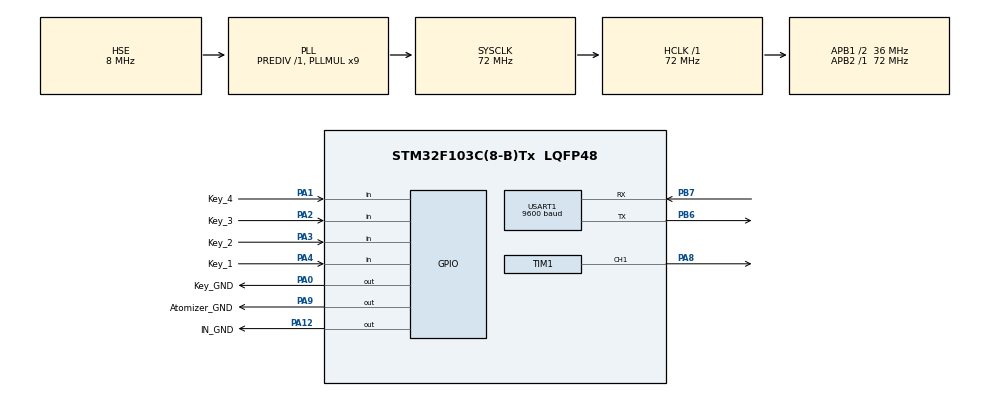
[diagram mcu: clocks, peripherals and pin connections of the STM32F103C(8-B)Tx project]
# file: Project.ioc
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Mcu.Family=STM32F1
Mcu.Name=STM32F103C(8-B)Tx
Mcu.Package=LQFP48
NVIC.PriorityGroup=NVIC_PRIORITYGROUP_4
PA0-WKUP.GPIO_Label=Key_GND
PA0-WKUP.GPIO_PuPd=GPIO_PULLDOWN
PA0-WKUP.GPIO_Speed=GPIO_SPEED_FREQ_HIGH
PA0-WKUP.Signal=GPIO_Output
PA1.GPIO_Label=Key_4
PA1.GPIO_PuPd=GPIO_PULLUP
PA1.Signal=GPIO_Input
PA12.GPIO_Label=IN_GND
PA12.GPIO_PuPd=GPIO_PULLDOWN
PA12.GPIO_Speed=GPIO_SPEED_FREQ_HIGH
PA12.Signal=GPIO_Output
PA13.Mode=Serial_Wire
PA13.Signal=SYS_JTMS-SWDIO
PA14.Mode=Serial_Wire
PA14.Signal=SYS_JTCK-SWCLK
PA2.GPIO_Label=Key_3
PA2.GPIO_PuPd=GPIO_PULLUP
PA2.Signal=GPIO_Input
PA3.GPIO_Label=Key_2
PA3.GPIO_PuPd=GPIO_PULLUP
PA3.Signal=GPIO_Input
PA4.GPIO_Label=Key_1
PA4.GPIO_PuPd=GPIO_PULLUP
PA4.Signal=GPIO_Input
PA8.Signal=S_TIM1_CH1
PA9.GPIO_Label=Atomizer_GND
PA9.GPIO_PuPd=GPIO_PULLDOWN
PA9.GPIO_Speed=GPIO_SPEED_FREQ_HIGH
PA9.Signal=GPIO_Output
PB6.Mode=Asynchronous
PB6.Signal=USART1_TX
PB7.Mode=Asynchronous
PB7.Signal=USART1_RX
PC14-OSC32_IN.Mode=LSE-External-Oscillator
PC14-OSC32_IN.Signal=RCC_OSC32_IN
PC15-OSC32_OUT.Mode=LSE-External-Oscillator
PC15-OSC32_OUT.Signal=RCC_OSC32_OUT
PD0-OSC_IN.Mode=HSE-External-Oscillator
PD0-OSC_IN.Signal=RCC_OSC_IN
PD1-OSC_OUT.Mode=HSE-External-Oscillator
PD1-OSC_OUT.Signal=RCC_OSC_OUT
ProjectManager.HeapSize=0x200
ProjectManager.StackSize=0x400
ProjectManager.TargetToolchain=MDK-ARM V5.32
RCC.AHBFreq_Value=72000000
RCC.APB1CLKDivider=RCC_HCLK_DIV2
RCC.APB1Freq_Value=36000000
RCC.APB1TimFreq_Value=72000000
RCC.APB2Freq_Value=72000000
RCC.APB2TimFreq_Value=72000000
RCC.HCLKFreq_Value=72000000
RCC.PLLMUL=RCC_PLL_MUL9
RCC.PLLSourceVirtual=RCC_PLLSOURCE_HSE
RCC.SYSCLKFreq_VALUE=72000000
RCC.SYSCLKSource=RCC_SYSCLKSOURCE_PLLCLK
RCC.USBFreq_Value=72000000
SH.S_TIM1_CH1.0=TIM1_CH1,PWM Generation1 CH1
TIM1.Channel-PWM\ Generation1\ CH1=TIM_CHANNEL_1
TIM1.Period=9
TIM1.Prescaler=71
TIM1.Pulse-PWM\ Generation1\ CH1=3
USART1.BaudRate=9600
USART1.VirtualMode=VM_ASYNC
VP_TIM1_VS_ClockSourceINT.Mode=Internal
board=custom

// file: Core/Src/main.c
/* USER CODE BEGIN Header */
/**
 ******************************************************************************
 * @file           : main.c
 * @brief          : Main program body
 ******************************************************************************
 * @attention
 *
 * Copyright (c) 2023 STMicroelectronics.
 * All rights reserved.
 *
 * This software is licensed under terms that can be found in the LICENSE file
 * in the root directory of this software component.
 * If no LICENSE file comes with this software, it is provided AS-IS.
 *
 ******************************************************************************
 */
/* USER CODE END Header */
#include "main.h"
#include "tim.h"
#include "usart.h"
#include "gpio.h"

void SystemClock_Config(void);

int main(void)
{
  /* USER CODE BEGIN 1 */
  uint8_t i = 0;
  uint16_t j = 3;
  /* USER CODE END 1 */

  /* MCU Configuration--------------------------------------------------------*/

  /* Reset of all peripherals, Initializes the Flash interface and the Systick. */
  HAL_Init();

  /* Configure the system clock */
  SystemClock_Config();

  /* Initialize all configured peripherals */
  MX_GPIO_Init();
  MX_TIM1_Init();
  MX_USART1_UART_Init();
  /* USER CODE BEGIN 2 */
  HAL_TIM_PWM_Start(&htim1, TIM_CHANNEL_1);
  /* USER CODE END 2 */

  /* Infinite loop */
  /* USER CODE BEGIN WHILE */
  while (1)
  {
    if (HAL_GPIO_ReadPin(Key_1_GPIO_Port, Key_1_Pin) == GPIO_PIN_RESET)
    {
      HAL_Delay(50);
      i += 1;
    }
    else if (HAL_GPIO_ReadPin(Key_2_GPIO_Port, Key_2_Pin) == GPIO_PIN_RESET)
    {
      HAL_Delay(50);
      i += 1;
    }

    if (i % 2 == 1)
    {
      printf("Atomizer: ON\n");
      if (HAL_GPIO_ReadPin(Key_3_GPIO_Port, Key_3_Pin) == GPIO_PIN_RESET)
      {
        HAL_Delay(50);
        j += 3;
      }
      else if (HAL_GPIO_ReadPin(Key_4_GPIO_Port, Key_4_Pin) == GPIO_PIN_RESET)
      {
        HAL_Delay(50);
        j -= 3;
      }
    }
    else if (i % 2 == 0)
    {
      printf("Atomizer: OFF\n");
      __HAL_TIM_SET_COMPARE(&htim1, TIM_CHANNEL_1, 3);
      j = 3;
    }

    switch (j)
    {
    case 3:
      __HAL_TIM_SET_COMPARE(&htim1, TIM_CHANNEL_1, 3);
      printf("Gear: 0\n");
      break;
    case 6:
      __HAL_TIM_SET_COMPARE(&htim1, TIM_CHANNEL_1, 6);
      printf("Gear: 1\n");
      break;
    case 9:
      __HAL_TIM_SET_COMPARE(&htim1, TIM_CHANNEL_1, 9);
      printf("Gear: 2\n");
      break;
    default:
      __HAL_TIM_SET_COMPARE(&htim1, TIM_CHANNEL_1, 3);
      j = 3;
      break;
    }

		HAL_Delay(1000);
    /* USER CODE END WHILE */

  }
}

void SystemClock_Config(void)
{
  RCC_OscInitTypeDef RCC_OscInitStruct = {0};
  RCC_ClkInitTypeDef RCC_ClkInitStruct = {0};

  /** Initializes the RCC Oscillators according to the specified parameters
  * in the RCC_OscInitTypeDef structure.
  */
  RCC_OscInitStruct.OscillatorType = RCC_OSCILLATORTYPE_HSE;
  RCC_OscInitStruct.HSEState = RCC_HSE_ON;
  RCC_OscInitStruct.HSEPredivValue = RCC_HSE_PREDIV_DIV1;
  RCC_OscInitStruct.HSIState = RCC_HSI_ON;
  RCC_OscInitStruct.PLL.PLLState = RCC_PLL_ON;
  RCC_OscInitStruct.PLL.PLLSource = RCC_PLLSOURCE_HSE;
  RCC_OscInitStruct.PLL.PLLMUL = RCC_PLL_MUL9;
  if (HAL_RCC_OscConfig(&RCC_OscInitStruct) != HAL_OK)
  {
    Error_Handler();
  }

  /** Initializes the CPU, AHB and APB buses clocks
  */
  RCC_ClkInitStruct.ClockType = RCC_CLOCKTYPE_HCLK|RCC_CLOCKTYPE_SYSCLK
                              |RCC_CLOCKTYPE_PCLK1|RCC_CLOCKTYPE_PCLK2;
  RCC_ClkInitStruct.SYSCLKSource = RCC_SYSCLKSOURCE_PLLCLK;
  RCC_ClkInitStruct.AHBCLKDivider = RCC_SYSCLK_DIV1;
  RCC_ClkInitStruct.APB1CLKDivider = RCC_HCLK_DIV2;
  RCC_ClkInitStruct.APB2CLKDivider = RCC_HCLK_DIV1;

  if (HAL_RCC_ClockConfig(&RCC_ClkInitStruct, FLASH_LATENCY_2) != HAL_OK)
  {
    Error_Handler();
  }
}

void Error_Handler(void)
{
  __disable_irq();
  while (1)
  {
  }
}
